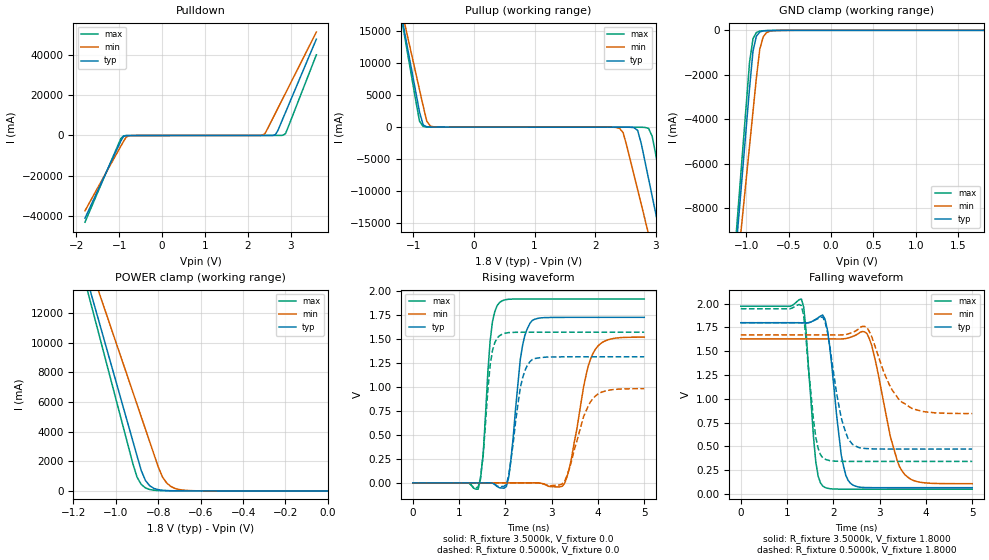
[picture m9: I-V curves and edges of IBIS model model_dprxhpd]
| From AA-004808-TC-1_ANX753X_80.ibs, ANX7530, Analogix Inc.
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[Model]  model_dprxhpd
Model_type I/O
Polarity   Non-Inverting
C_comp   2.3000pF   NA   NA
[Temperature Range]   27.0000   100.0000   0.0
[Voltage Range]   1.8000V   1.6200V   1.9800V
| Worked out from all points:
|   slope of the pulldown table from 0 to 0.27 V, typ, clamps not added: 151 ohm
|   slope of the pullup table from 0 to 0.27 V, typ, clamps not added: 162 ohm
|   GND clamp passes 1 mA (typ) near -0.52 V on its own axis
|   POWER clamp passes 1 mA (typ) near -0.46 V on its own axis
|   rising waveform, R_fixture 3.5000k, V_fixture 0.0: 20-80 % time 213ps typ, 343ps min, 153ps max; typ from 0 V to 1.73 V
|   rising waveform, R_fixture 0.5000k, V_fixture 0.0: 20-80 % time 223ps typ, 366ps min, 156ps max; typ from 0 V to 1.32 V
|   falling waveform, R_fixture 3.5000k, V_fixture 1.8000: 20-80 % time 227ps typ, 403ps min, 175ps max; typ from 1.8 V to 0.064 V
|   falling waveform, R_fixture 0.5000k, V_fixture 1.8000: 20-80 % time 280ps typ, 460ps min, 192ps max; typ from 1.8 V to 0.47 V
[GND_clamp]
|Voltage   I(typ)   I(min)   I(max)
-1.8V     -41.12A    -37.43A    -43.07A
-1.12V    -9.872A    -11.29A    -9.268A
-1.08V    -8.044A    -9.764A    -7.295A
-1.04V    -6.22A     -8.236A    -5.327A
-960mV    -2.582A    -5.185A    -1.419A
-920mV    -934.9mA   -3.663A    -373.8mA
-880mV    -262.2mA   -2.143A    -96.85mA
-840mV    -74.88mA   -850.4mA   -33.52mA
-800mV    -26.53mA   -296.9mA   -18.35mA
-760mV    -13.27mA   -101.8mA   -13.33mA
-720mV    -8.641mA   -36.45mA   -10.46mA
1.8V      29.74uA    16.64uA    49.23uA
[POWER_clamp]
|Voltage   I(typ)   I(min)   I(max)
-1.8V     47.86A     43.79A     49.88A
-1.14V    14.49A     15.95A     13.86A
-1.12V    13.48A     15.11A     12.77A
-1.1V     12.47A     14.27A     11.68A
-1.08V    11.46A     13.42A     10.59A
-1.06V    10.45A     12.58A     9.498A
-920mV    3.374A     6.68A      1.858A
-900mV    2.363A     5.837A     932.5mA
-860mV    698.8mA    4.15A      200.8mA
-780mV    42.57mA    941.8mA    17.22mA
-720mV    10mA       163.4mA    9.264mA
0V        29.74uA    15.06uA    49.31uA
[Pulldown]
|Voltage   I(typ)   I(min)   I(max)
-1.8V     -41.12A    -37.43A    -43.08A
-960mV    -2.588A    -5.189A    -1.426A
-900mV    -506.2mA   -2.906A    -195.3mA
-840mV    -81.29mA   -854.3mA   -41.48mA
-720mV    -14.36mA   -40.27mA   -17.51mA
2.34V     5.808mA    165.4mA    5.824mA
2.4V      7.098mA    943.8mA    6.433mA
2.64V     347.4mA    10.9A      12.24mA
2.7V      2.367A     13.43A     14.74mA
2.82V     8.433A     18.49A     99.6mA
2.88V     11.46A     21.02A     938mA
3.6V      47.86A     51.38A     40.06A
[Pullup]
|Voltage   I(typ)   I(min)   I(max)
-1.8V     47.87A     43.8A      49.89A
-1.2V     17.53A     18.49A     17.14A
-1.14V    14.5A      15.96A     13.87A
-900mV    2.368A     5.841A     939.2mA
-840mV    349.4mA    3.31A      101.3mA
-660mV    10.2mA     32.31mA    12.82mA
2.4V      -7.253mA   -176.1mA   -6.56mA
2.7V      -504.2mA   -9.767A    -16.87mA
2.88V     -8.049A    -16.66A    -193.6mA
3.06V     -16.29A    -23.58A    -7.302A
3.24V     -24.56A    -30.5A     -16.2A
3.6V      -41.12A    -44.36A    -34.11A
[Ramp]
| variable   typ   min   max
dV/dt_r  0.1233/0.1438n   73.0200m/0.2140n   0.1844/0.1156n
dV/dt_f  0.1074/0.1798n   60.0000m/0.2567n   0.1632/0.1395n
R_load = 50.0000
[Rising Waveform]
R_fixture= 3.5000k
V_fixture= 0.0
|time   V(typ)   V(min)   V(max)
0s        0V         703.7nV    0V
1.41ns    -19.76uV   692.4nV    -65.23mV
1.67ns    897uV      700.8nV    1.485V
1.87ns    -50.95mV   1.211uV    1.881V
2.07ns    55.95mV    2.623uV    1.917V
2.32ns    1.284V     -13.9uV    1.919V
2.58ns    1.696V     488uV      1.919V
3.28ns    1.728V     -3.677mV   1.919V
3.99ns    1.728V     1.424V     1.919V
5ns       1.728V     1.522V     1.919V
[Rising Waveform]
R_fixture= 0.5000k
V_fixture= 0.0
|time   V(typ)   V(min)   V(max)
0s        0V         529.5nV    0V
1.41ns    -18.76uV   519.7nV    -44mV
1.67ns    790.2uV    528.2nV    1.23V
1.87ns    -41.24mV   974.3nV    1.535V
2.07ns    73.34mV    2.153uV    1.569V
2.32ns    989.9mV    -12.79uV   1.572V
2.58ns    1.288V     447.9uV    1.573V
3.28ns    1.316V     18.35mV    1.573V
3.94ns    1.316V     905.2mV    1.573V
5ns       1.316V     983.5mV    1.573V
[Falling Waveform]
R_fixture= 3.5000k
V_fixture= 1.8000
|time   V(typ)   V(min)   V(max)
0s        1.8V       1.63V      1.974V
1.31ns    1.799V     1.63V      2.049V
1.62ns    1.836V     1.63V      338mV
1.77ns    1.881V     1.63V      82.3mV
1.92ns    1.555V     1.63V      53.88mV
2.17ns    408.7mV    1.629V     49.09mV
2.37ns    111.1mV    1.647V     48.86mV
2.78ns    65.22mV    1.628V     48.84mV
3.54ns    64.5mV     204mV      48.84mV
5ns       64.5mV     106.6mV    48.84mV
[Falling Waveform]
R_fixture= 0.5000k
V_fixture= 1.8000
|time   V(typ)   V(min)   V(max)
0s        1.8V       1.672V     1.947V
1.31ns    1.799V     1.672V     1.98V
1.62ns    1.832V     1.672V     597.2mV
1.77ns    1.86V      1.672V     379.5mV
1.87ns    1.71V      1.672V     355.5mV
2.17ns    798.5mV    1.672V     341.6mV
2.42ns    517.6mV    1.7V       340.9mV
2.73ns    475.5mV    1.747V     340.9mV
3.48ns    470.5mV    965.4mV    340.9mV
5ns       470.4mV    844.2mV    340.9mV
